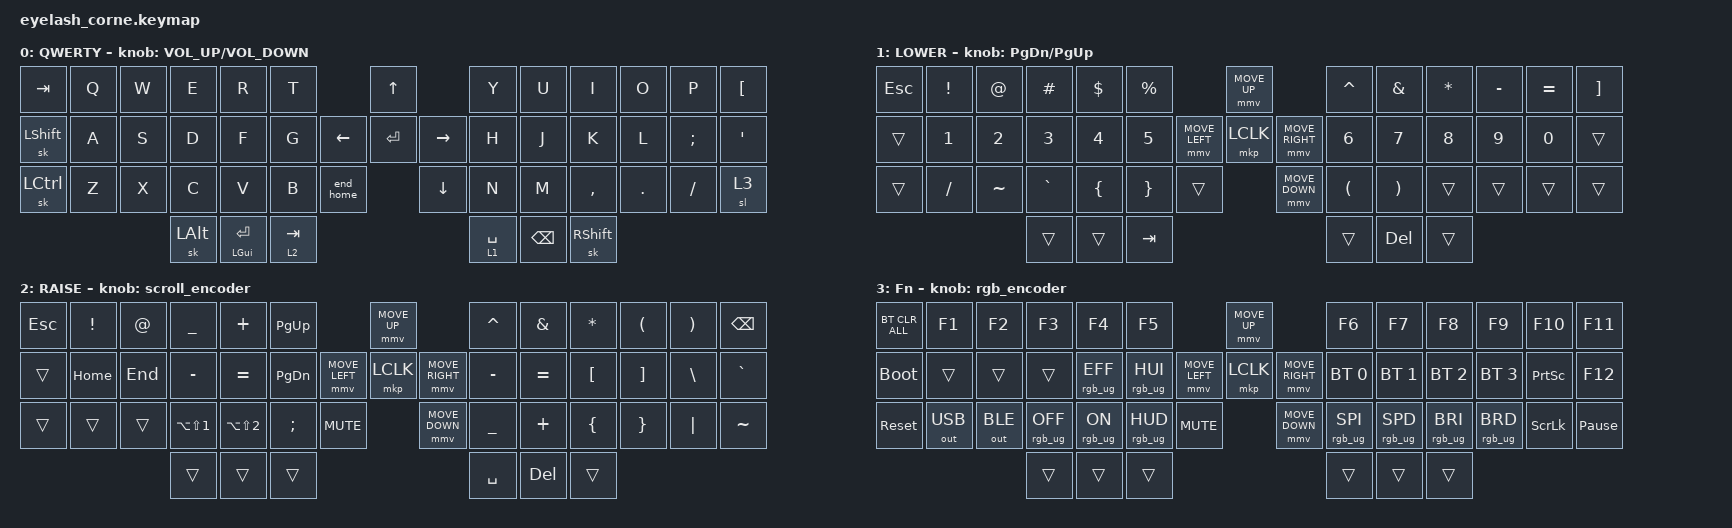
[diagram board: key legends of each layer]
#define ZMK_POINTING_DEFAULT_MOVE_VAL 1200  // 600
#define ZMK_POINTING_DEFAULT_SCRL_VAL 25   // 10

#include <input/processors.dtsi>
#include <zephyr/dt-bindings/input/input-event-codes.h>
#include <dt-bindings/zmk/mouse.h>
#include <behaviors.dtsi>
#include <dt-bindings/zmk/bt.h>
#include <dt-bindings/zmk/keys.h>
#include <dt-bindings/zmk/outputs.h>
#include <dt-bindings/zmk/pointing.h>
#include <dt-bindings/zmk/rgb.h>

&mmv_input_listener { input-processors = <&zip_xy_scaler 2 1>; };

&msc_input_listener { input-processors = <&zip_scroll_scaler 2 1>; };

&msc {
    delay-ms = <0>;
    time-to-max-speed-ms = <100>;
    acceleration-exponent = <1>;
};

&mmv {
    trigger-period-ms = <16>;
    time-to-max-speed-ms = <500>;
};

&soft_off { hold-time-ms = <2000>; };

/ {
    behaviors {
        td0: td0 {
            compatible = "zmk,behavior-tap-dance";
            display-name = "Shift/Caps Lock Tap Dance";
            #binding-cells = <0>;
            bindings = <&kp LEFT_SHIFT>, <&kp CAPS>;
        };

        scroll_encoder: scroll_encoder {
            compatible = "zmk,behavior-sensor-rotate";
            #sensor-binding-cells = <0>;
            bindings = <&msc SCRL_DOWN>, <&msc SCRL_UP>;

            tap-ms = <50>;
        };

        end_home: end_home {
            compatible = "zmk,behavior-tap-dance";
            label = "END_HOME";
            #binding-cells = <0>;
            bindings = <&kp END>, <&kp HOME>;
        };
    };

    rgb_encoder: rgb_encoder {
        compatible = "zmk,behavior-sensor-rotate";
        #sensor-binding-cells = <0>;
        bindings = <&rgb_ug RGB_BRI>, <&rgb_ug RGB_BRD>;
    };

    combos {
        compatible = "zmk,combos";

        tverd {
            bindings = <&kp RIGHT_BRACKET>;
            key-positions = <12 11>;
        };

        soft_off {
            bindings = <&soft_off>;
            key-positions = <1 15 29>;
        };
    };

    keymap {
        compatible = "zmk,keymap";

        default_layer {
            display-name = "QWERTY";
            bindings = <
&kp TAB         &kp Q  &kp W  &kp E         &kp R               &kp T                             &kp UP                &kp Y        &kp U          &kp I            &kp O    &kp P     &kp LEFT_BRACKET
&sk LEFT_SHIFT  &kp A  &kp S  &kp D         &kp F               &kp G                   &kp LEFT  &kp ENTER  &kp RIGHT  &kp H        &kp J          &kp K            &kp L    &kp SEMI  &kp SQT
&sk LCTRL       &kp Z  &kp X  &kp C         &kp V               &kp B      &end_home              &kp DOWN              &kp N        &kp M          &kp COMMA        &kp DOT  &kp FSLH  &sl 3
                              &sk LEFT_ALT  &mt LEFT_GUI ENTER  &lt 2 TAB                                               &lt 1 SPACE  &kp BACKSPACE  &sk RIGHT_SHIFT
            >;

            sensor-bindings = <&inc_dec_kp C_VOLUME_UP C_VOLUME_DOWN>;
        };

        lower {
            display-name = "LOWER";
            bindings = <
&kp ESCAPE  &kp EXCLAMATION  &kp AT_SIGN  &kp HASH   &kp DOLLAR      &kp PERCENT                                &mmv MOVE_UP                     &kp CARET             &kp AMPERSAND          &kp ASTERISK  &kp MINUS  &kp EQUAL  &kp RIGHT_BRACKET
&trans      &kp N1           &kp N2       &kp N3     &kp N4          &kp N5                     &mmv MOVE_LEFT  &mkp LCLK       &mmv MOVE_RIGHT  &kp N6                &kp N7                 &kp N8        &kp N9     &kp N0     &trans
&trans      &kp SLASH        &kp TILDE    &kp GRAVE  &kp LEFT_BRACE  &kp RIGHT_BRACE  &trans                    &mmv MOVE_DOWN                   &kp LEFT_PARENTHESIS  &kp RIGHT_PARENTHESIS  &trans        &trans     &trans     &trans
                                          &trans     &trans          &kp TAB                                                                     &trans                &kp DEL                &trans
            >;

            sensor-bindings = <&inc_dec_kp PAGE_DOWN PAGE_UP>;
        };

        raise_layer {
            display-name = "RAISE";
            bindings = <
&kp ESCAPE  &kp EXCL  &kp AT   &kp UNDERSCORE        &kp PLUS              &kp PAGE_UP                                  &mmv MOVE_UP                     &kp CARET  &kp AMPS    &kp ASTRK  &kp LPAR  &kp RPAR  &kp BSPC
&trans      &kp HOME  &kp END  &kp MINUS             &kp EQUAL             &kp PAGE_DOWN                &mmv MOVE_LEFT  &mkp LCLK       &mmv MOVE_RIGHT  &kp MINUS  &kp EQUAL   &kp LBKT   &kp RBKT  &kp BSLH  &kp GRAVE
&trans      &trans    &trans   &kp LA(LS(NUMBER_1))  &kp LA(LS(NUMBER_2))  &kp SEMICOLON  &kp C_MUTE                    &mmv MOVE_DOWN                   &kp UNDER  &kp PLUS    &kp LBRC   &kp RBRC  &kp PIPE  &kp TILDE
                               &trans                &trans                &trans                                                                        &kp SPACE  &kp DELETE  &trans
            >;

            sensor-bindings = <&scroll_encoder>;
        };

        fn_3 {
            display-name = "Fn";
            bindings = <
&bt BT_CLR_ALL  &kp F1        &kp F2        &kp F3           &kp F4           &kp F5                                         &mmv MOVE_UP                     &kp F6           &kp F7           &kp F8           &kp F9           &kp F10          &kp F11
&bootloader     &trans        &trans        &trans           &rgb_ug RGB_EFF  &rgb_ug RGB_HUI                &mmv MOVE_LEFT  &mkp LCLK       &mmv MOVE_RIGHT  &bt BT_SEL 0     &bt BT_SEL 1     &bt BT_SEL 2     &bt BT_SEL 3     &kp PRINTSCREEN  &kp F12
&sys_reset      &out OUT_USB  &out OUT_BLE  &rgb_ug RGB_OFF  &rgb_ug RGB_ON   &rgb_ug RGB_HUD  &kp C_MUTE                    &mmv MOVE_DOWN                   &rgb_ug RGB_SPI  &rgb_ug RGB_SPD  &rgb_ug RGB_BRI  &rgb_ug RGB_BRD  &kp SCROLLLOCK   &kp PAUSE_BREAK
                                            &trans           &trans           &trans                                                                          &trans           &trans           &trans
            >;

            sensor-bindings = <&rgb_encoder>;
        };
    };
};
